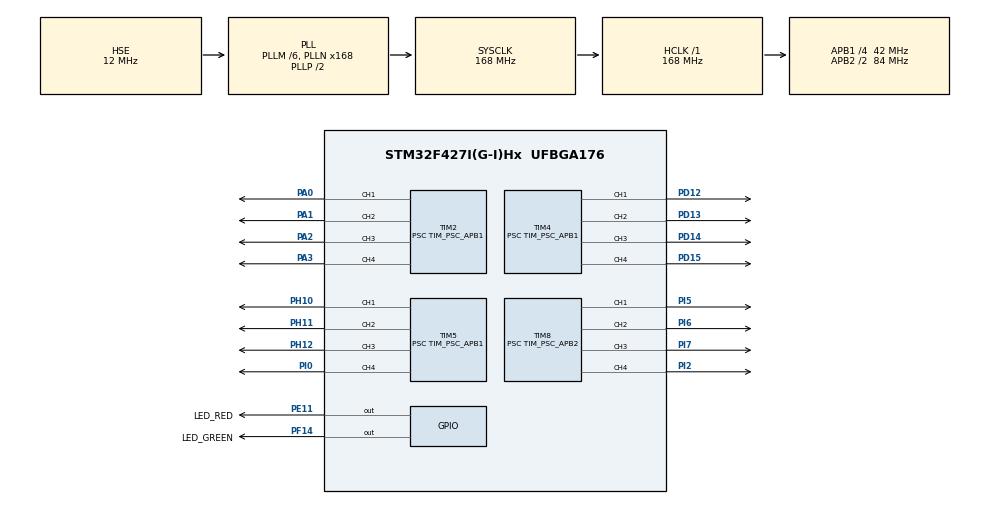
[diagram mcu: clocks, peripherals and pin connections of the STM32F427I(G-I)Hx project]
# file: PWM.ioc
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Mcu.Family=STM32F4
Mcu.Name=STM32F427I(G-I)Hx
Mcu.Package=UFBGA176
Mcu.UserConstants=TIM_PSC_APB1,((APB1_TIMER_CLOCKS/PWM_FREQUENCE)/PWM_RESOLUTION -1);PWM_FREQUENCE,50;PWM_RESOLUTION,10000;APB1_TIMER_CLOCKS,84000000;PWM_DEFAULT_DUTY,5000;TIM_PSC_APB2,((APB2_TIMER_CLOCKS/PWM_FREQUENCE)/PWM_RESOLUTION -1);APB2_TIMER_CLOCKS,168000000
NVIC.PriorityGroup=NVIC_PRIORITYGROUP_4
PA0/WKUP.Signal=S_TIM2_CH1_ETR
PA1.Signal=S_TIM2_CH2
PA2.Signal=S_TIM2_CH3
PA3.Signal=S_TIM2_CH4
PD12.Signal=S_TIM4_CH1
PD13.Signal=S_TIM4_CH2
PD14.Signal=S_TIM4_CH3
PD15.Signal=S_TIM4_CH4
PE11.GPIO_Label=LED_RED
PE11.Signal=GPIO_Output
PF14.GPIO_Label=LED_GREEN
PF14.Signal=GPIO_Output
PH0/OSC_IN.Mode=HSE-External-Oscillator
PH0/OSC_IN.Signal=RCC_OSC_IN
PH1/OSC_OUT.Mode=HSE-External-Oscillator
PH1/OSC_OUT.Signal=RCC_OSC_OUT
PH10.Signal=S_TIM5_CH1
PH11.Signal=S_TIM5_CH2
PH12.Signal=S_TIM5_CH3
PI0.Signal=S_TIM5_CH4
PI2.Signal=S_TIM8_CH4
PI5.Signal=S_TIM8_CH1
PI6.Signal=S_TIM8_CH2
PI7.Signal=S_TIM8_CH3
ProjectManager.HeapSize=0x200
ProjectManager.StackSize=0x400
ProjectManager.TargetToolchain=MDK-ARM V5
RCC.48MHZClocksFreq_Value=84000000
RCC.AHBFreq_Value=168000000
RCC.APB1CLKDivider=RCC_HCLK_DIV4
RCC.APB1Freq_Value=42000000
RCC.APB1TimFreq_Value=84000000
RCC.APB2CLKDivider=RCC_HCLK_DIV2
RCC.APB2Freq_Value=84000000
RCC.APB2TimFreq_Value=168000000
RCC.CortexFreq_Value=168000000
RCC.HCLKFreq_Value=168000000
RCC.HSE_VALUE=12000000
RCC.HSI_VALUE=16000000
RCC.LSE_VALUE=32768
RCC.PLLM=6
RCC.PLLN=168
RCC.PLLSourceVirtual=RCC_PLLSOURCE_HSE
RCC.SYSCLKFreq_VALUE=168000000
RCC.SYSCLKSource=RCC_SYSCLKSOURCE_PLLCLK
RCC.VCOOutputFreq_Value=336000000
SH.S_TIM2_CH1_ETR.0=TIM2_CH1,PWM Generation1 CH1
SH.S_TIM2_CH2.0=TIM2_CH2,PWM Generation2 CH2
SH.S_TIM2_CH3.0=TIM2_CH3,PWM Generation3 CH3
SH.S_TIM2_CH4.0=TIM2_CH4,PWM Generation4 CH4
SH.S_TIM4_CH1.0=TIM4_CH1,PWM Generation1 CH1
SH.S_TIM4_CH2.0=TIM4_CH2,PWM Generation2 CH2
SH.S_TIM4_CH3.0=TIM4_CH3,PWM Generation3 CH3
SH.S_TIM4_CH4.0=TIM4_CH4,PWM Generation4 CH4
SH.S_TIM5_CH1.0=TIM5_CH1,PWM Generation1 CH1
SH.S_TIM5_CH2.0=TIM5_CH2,PWM Generation2 CH2
SH.S_TIM5_CH3.0=TIM5_CH3,PWM Generation3 CH3
SH.S_TIM5_CH4.0=TIM5_CH4,PWM Generation4 CH4
SH.S_TIM8_CH1.0=TIM8_CH1,PWM Generation1 CH1
SH.S_TIM8_CH2.0=TIM8_CH2,PWM Generation2 CH2
SH.S_TIM8_CH3.0=TIM8_CH3,PWM Generation3 CH3
SH.S_TIM8_CH4.0=TIM8_CH4,PWM Generation4 CH4
TIM2.Channel-PWM\ Generation1\ CH1=TIM_CHANNEL_1
TIM2.Channel-PWM\ Generation2\ CH2=TIM_CHANNEL_2
TIM2.Channel-PWM\ Generation3\ CH3=TIM_CHANNEL_3
TIM2.Channel-PWM\ Generation4\ CH4=TIM_CHANNEL_4
TIM2.Period=PWM_RESOLUTION-1
TIM2.Prescaler=TIM_PSC_APB1
TIM2.Pulse-PWM\ Generation1\ CH1=PWM_DEFAULT_DUTY
TIM2.Pulse-PWM\ Generation2\ CH2=PWM_DEFAULT_DUTY
TIM2.Pulse-PWM\ Generation3\ CH3=PWM_DEFAULT_DUTY
TIM2.Pulse-PWM\ Generation4\ CH4=PWM_DEFAULT_DUTY
TIM4.Channel-PWM\ Generation1\ CH1=TIM_CHANNEL_1
TIM4.Channel-PWM\ Generation2\ CH2=TIM_CHANNEL_2
TIM4.Channel-PWM\ Generation3\ CH3=TIM_CHANNEL_3
TIM4.Channel-PWM\ Generation4\ CH4=TIM_CHANNEL_4
TIM4.Period=PWM_RESOLUTION-1
TIM4.Prescaler=TIM_PSC_APB1
TIM4.Pulse-PWM\ Generation1\ CH1=PWM_DEFAULT_DUTY
TIM4.Pulse-PWM\ Generation2\ CH2=PWM_DEFAULT_DUTY
TIM4.Pulse-PWM\ Generation3\ CH3=PWM_DEFAULT_DUTY
TIM4.Pulse-PWM\ Generation4\ CH4=PWM_DEFAULT_DUTY
TIM5.Channel-PWM\ Generation1\ CH1=TIM_CHANNEL_1
TIM5.Channel-PWM\ Generation2\ CH2=TIM_CHANNEL_2
TIM5.Channel-PWM\ Generation3\ CH3=TIM_CHANNEL_3
TIM5.Channel-PWM\ Generation4\ CH4=TIM_CHANNEL_4
TIM5.Period=PWM_RESOLUTION-1
TIM5.Prescaler=TIM_PSC_APB1
TIM5.Pulse-PWM\ Generation1\ CH1=PWM_DEFAULT_DUTY
TIM5.Pulse-PWM\ Generation2\ CH2=PWM_DEFAULT_DUTY
TIM5.Pulse-PWM\ Generation3\ CH3=PWM_DEFAULT_DUTY
TIM5.Pulse-PWM\ Generation4\ CH4=PWM_DEFAULT_DUTY
TIM8.Channel-PWM\ Generation1\ CH1=TIM_CHANNEL_1
TIM8.Channel-PWM\ Generation2\ CH2=TIM_CHANNEL_2
TIM8.Channel-PWM\ Generation3\ CH3=TIM_CHANNEL_3
TIM8.Channel-PWM\ Generation4\ CH4=TIM_CHANNEL_4
TIM8.Period=PWM_RESOLUTION-1
TIM8.Prescaler=TIM_PSC_APB2
TIM8.Pulse-PWM\ Generation1\ CH1=PWM_DEFAULT_DUTY
TIM8.Pulse-PWM\ Generation2\ CH2=PWM_DEFAULT_DUTY
TIM8.Pulse-PWM\ Generation3\ CH3=PWM_DEFAULT_DUTY
TIM8.Pulse-PWM\ Generation4\ CH4=PWM_DEFAULT_DUTY
board=PWM

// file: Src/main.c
/**
  ******************************************************************************
  * @file           : main.c
  * @brief          : Main program body
  ******************************************************************************
  ** This notice applies to any and all portions of this file
  * that are not between comment pairs USER CODE BEGIN and
  * USER CODE END. Other portions of this file, whether
  * inserted by the user or by software development tools
  * are owned by their respective copyright owners.
  *
  * COPYRIGHT(c) 2018 STMicroelectronics
  *
  * Redistribution and use in source and binary forms, with or without modification,
  * are permitted provided that the following conditions are met:
  *   1. Redistributions of source code must retain the above copyright notice,
  *      this list of conditions and the following disclaimer.
  *   2. Redistributions in binary form must reproduce the above copyright notice,
  *      this list of conditions and the following disclaimer in the documentation
  *      and/or other materials provided with the distribution.
  *   3. Neither the name of STMicroelectronics nor the names of its contributors
  *      may be used to endorse or promote products derived from this software
  *      without specific prior written permission.
  *
  * THIS SOFTWARE IS PROVIDED BY THE COPYRIGHT HOLDERS AND CONTRIBUTORS "AS IS"
  * AND ANY EXPRESS OR IMPLIED WARRANTIES, INCLUDING, BUT NOT LIMITED TO, THE
  * IMPLIED WARRANTIES OF MERCHANTABILITY AND FITNESS FOR A PARTICULAR PURPOSE ARE
  * DISCLAIMED. IN NO EVENT SHALL THE COPYRIGHT HOLDER OR CONTRIBUTORS BE LIABLE
  * FOR ANY DIRECT, INDIRECT, INCIDENTAL, SPECIAL, EXEMPLARY, OR CONSEQUENTIAL
  * DAMAGES (INCLUDING, BUT NOT LIMITED TO, PROCUREMENT OF SUBSTITUTE GOODS OR
  * SERVICES; LOSS OF USE, DATA, OR PROFITS; OR BUSINESS INTERRUPTION) HOWEVER
  * CAUSED AND ON ANY THEORY OF LIABILITY, WHETHER IN CONTRACT, STRICT LIABILITY,
  * OR TORT (INCLUDING NEGLIGENCE OR OTHERWISE) ARISING IN ANY WAY OUT OF THE USE
  * OF THIS SOFTWARE, EVEN IF ADVISED OF THE POSSIBILITY OF SUCH DAMAGE.
  *
  ******************************************************************************
  */
#include "main.h"
#include "stm32f4xx_hal.h"
#include "tim.h"
#include "gpio.h"

/* USER CODE BEGIN PV */
/* Private variables ---------------------------------------------------------*/

/* USER CODE END PV */

void SystemClock_Config(void);

/* USER CODE BEGIN PFP */
/* Private function prototypes -----------------------------------------------*/

/* USER CODE END PFP */

/* USER CODE BEGIN 0 */
void PWM_SetDuty(TIM_HandleTypeDef *tim,uint32_t tim_channel,float duty){

	switch(tim_channel){
		case TIM_CHANNEL_1: tim->Instance->CCR1 = (PWM_RESOLUTION*duty) - 1;break;
		case TIM_CHANNEL_2: tim->Instance->CCR2 = (PWM_RESOLUTION*duty) - 1;break;
		case TIM_CHANNEL_3: tim->Instance->CCR3 = (PWM_RESOLUTION*duty) - 1;break;
		case TIM_CHANNEL_4: tim->Instance->CCR4 = (PWM_RESOLUTION*duty) - 1;break;
	}

}
/* USER CODE END 0 */

int main(void)
{

  /* MCU Configuration----------------------------------------------------------*/

  /* Reset of all peripherals, Initializes the Flash interface and the Systick. */
  HAL_Init();

  /* Configure the system clock */
  SystemClock_Config();

  /* Initialize all configured peripherals */
  MX_GPIO_Init();
  MX_TIM2_Init();
  MX_TIM4_Init();
  MX_TIM5_Init();
  MX_TIM8_Init();
  /* USER CODE BEGIN 2 */
	led_off();
	/* Open 4 sets of PWM waves respectively */
		/**TIM2 GPIO Configuration
	PA1     ------> TIM2_CH2
	PA0     ------> TIM2_CH1
	PA2     ------> TIM2_CH3
	PA3     ------> TIM2_CH4
	*/

	HAL_TIM_PWM_Start(&htim2,TIM_CHANNEL_1);
	HAL_TIM_PWM_Start(&htim2,TIM_CHANNEL_2);
	HAL_TIM_PWM_Start(&htim2,TIM_CHANNEL_3);
	HAL_TIM_PWM_Start(&htim2,TIM_CHANNEL_4);

	/**TIM4 GPIO Configuration
	PD15     ------> TIM4_CH4
	PD14     ------> TIM4_CH3
	PD13     ------> TIM4_CH2
	PD12     ------> TIM4_CH1
	*/
	HAL_TIM_PWM_Start(&htim4,TIM_CHANNEL_1);
	HAL_TIM_PWM_Start(&htim4,TIM_CHANNEL_2);
	HAL_TIM_PWM_Start(&htim4,TIM_CHANNEL_3);
	HAL_TIM_PWM_Start(&htim4,TIM_CHANNEL_4);

	/**TIM5 GPIO Configuration
	PI0     ------> TIM5_CH4
	PH12     ------> TIM5_CH3
	PH11     ------> TIM5_CH2
	PH10     ------> TIM5_CH1
	*/

	HAL_TIM_PWM_Start(&htim5,TIM_CHANNEL_1);
	HAL_TIM_PWM_Start(&htim5,TIM_CHANNEL_2);
	HAL_TIM_PWM_Start(&htim5,TIM_CHANNEL_3);
	HAL_TIM_PWM_Start(&htim5,TIM_CHANNEL_4);

	/**TIM8 GPIO Configuration
	PI7     ------> TIM8_CH3
	PI6     ------> TIM8_CH2
	PI5     ------> TIM8_CH1
	PI2     ------> TIM8_CH4
	*/

	HAL_TIM_PWM_Start(&htim8,TIM_CHANNEL_1);
	HAL_TIM_PWM_Start(&htim8,TIM_CHANNEL_2);
	HAL_TIM_PWM_Start(&htim8,TIM_CHANNEL_3);
	HAL_TIM_PWM_Start(&htim8,TIM_CHANNEL_4);

	PWM_SetDuty(&htim8,TIM_CHANNEL_1,0.10);
	PWM_SetDuty(&htim8,TIM_CHANNEL_2,0.20);
	PWM_SetDuty(&htim8,TIM_CHANNEL_3,0.30);
	PWM_SetDuty(&htim8,TIM_CHANNEL_4,0.40);
  /* USER CODE END 2 */

  /* Infinite loop */
  while (1)
  {

  /* USER CODE BEGIN 3 */
		HAL_GPIO_TogglePin(GPIOF, LED_GREEN_Pin);
		HAL_Delay(500);
  }
  /* USER CODE END 3 */

}

void SystemClock_Config(void)
{

  RCC_OscInitTypeDef RCC_OscInitStruct;
  RCC_ClkInitTypeDef RCC_ClkInitStruct;

    /**Configure the main internal regulator output voltage
    */
  __HAL_RCC_PWR_CLK_ENABLE();

  __HAL_PWR_VOLTAGESCALING_CONFIG(PWR_REGULATOR_VOLTAGE_SCALE1);

    /**Initializes the CPU, AHB and APB busses clocks
    */
  RCC_OscInitStruct.OscillatorType = RCC_OSCILLATORTYPE_HSE;
  RCC_OscInitStruct.HSEState = RCC_HSE_ON;
  RCC_OscInitStruct.PLL.PLLState = RCC_PLL_ON;
  RCC_OscInitStruct.PLL.PLLSource = RCC_PLLSOURCE_HSE;
  RCC_OscInitStruct.PLL.PLLM = 6;
  RCC_OscInitStruct.PLL.PLLN = 168;
  RCC_OscInitStruct.PLL.PLLP = RCC_PLLP_DIV2;
  RCC_OscInitStruct.PLL.PLLQ = 4;
  if (HAL_RCC_OscConfig(&RCC_OscInitStruct) != HAL_OK)
  {
    _Error_Handler(__FILE__, __LINE__);
  }

    /**Initializes the CPU, AHB and APB busses clocks
    */
  RCC_ClkInitStruct.ClockType = RCC_CLOCKTYPE_HCLK|RCC_CLOCKTYPE_SYSCLK
                              |RCC_CLOCKTYPE_PCLK1|RCC_CLOCKTYPE_PCLK2;
  RCC_ClkInitStruct.SYSCLKSource = RCC_SYSCLKSOURCE_PLLCLK;
  RCC_ClkInitStruct.AHBCLKDivider = RCC_SYSCLK_DIV1;
  RCC_ClkInitStruct.APB1CLKDivider = RCC_HCLK_DIV4;
  RCC_ClkInitStruct.APB2CLKDivider = RCC_HCLK_DIV2;

  if (HAL_RCC_ClockConfig(&RCC_ClkInitStruct, FLASH_LATENCY_5) != HAL_OK)
  {
    _Error_Handler(__FILE__, __LINE__);
  }

    /**Configure the Systick interrupt time
    */
  HAL_SYSTICK_Config(HAL_RCC_GetHCLKFreq()/1000);

    /**Configure the Systick
    */
  HAL_SYSTICK_CLKSourceConfig(SYSTICK_CLKSOURCE_HCLK);

  /* SysTick_IRQn interrupt configuration */
  HAL_NVIC_SetPriority(SysTick_IRQn, 0, 0);
}

void _Error_Handler(char *file, int line)
{
  while(1)
  {
  }
}

/************************ (C) COPYRIGHT STMicroelectronics *****END OF FILE****/
